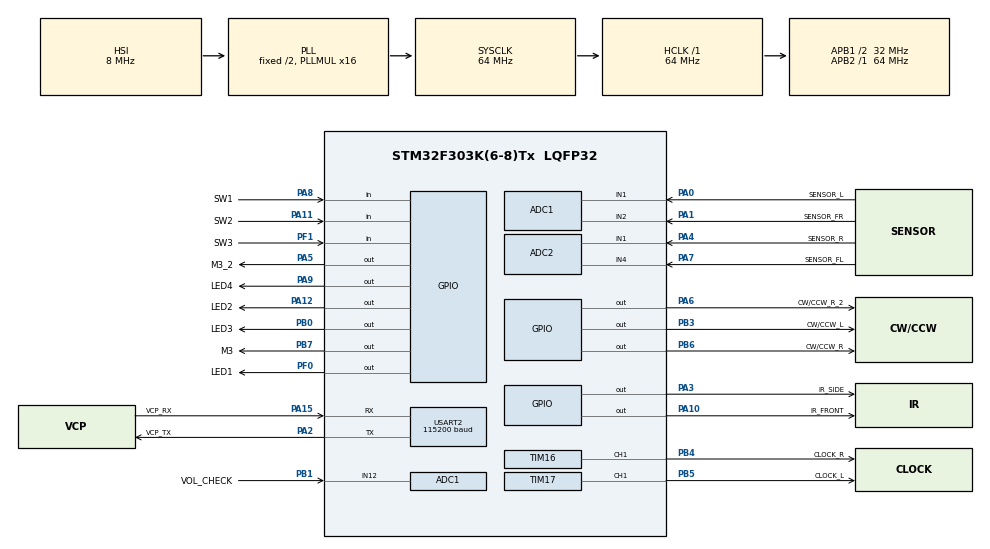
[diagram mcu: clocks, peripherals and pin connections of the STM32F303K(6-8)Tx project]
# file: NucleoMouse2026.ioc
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ADC1.Channel-0\#ChannelRegularConversion=ADC_CHANNEL_1
ADC1.Channel-1\#ChannelRegularConversion=ADC_CHANNEL_2
ADC1.Channel-2\#ChannelRegularConversion=ADC_CHANNEL_12
ADC1.DiscontinuousConvMode=ENABLE
ADC1.NbrOfConversion=3
ADC1.NbrOfConversionFlag=1
ADC1.Offset-0\#ChannelRegularConversion=0
ADC1.Offset-1\#ChannelRegularConversion=0
ADC1.Offset-2\#ChannelRegularConversion=0
ADC1.OffsetNumber-0\#ChannelRegularConversion=ADC_OFFSET_NONE
ADC1.OffsetNumber-1\#ChannelRegularConversion=ADC_OFFSET_NONE
ADC1.OffsetNumber-2\#ChannelRegularConversion=ADC_OFFSET_NONE
ADC1.Rank-0\#ChannelRegularConversion=1
ADC1.Rank-1\#ChannelRegularConversion=2
ADC1.Rank-2\#ChannelRegularConversion=3
ADC1.SamplingTime-0\#ChannelRegularConversion=ADC_SAMPLETIME_61CYCLES_5
ADC1.SamplingTime-1\#ChannelRegularConversion=ADC_SAMPLETIME_61CYCLES_5
ADC1.SamplingTime-2\#ChannelRegularConversion=ADC_SAMPLETIME_61CYCLES_5
ADC1.SamplingTimeOPAMP-1\#ChannelRegularConversion=ADC_SAMPLETIME_61CYCLES_5
ADC1.SamplingTimeOPAMP-2\#ChannelRegularConversion=ADC_SAMPLETIME_61CYCLES_5
ADC1.SubFamily=STM32F303x8
ADC1.master=1
ADC2.Channel-0\#ChannelRegularConversion=ADC_CHANNEL_1
ADC2.Channel-1\#ChannelRegularConversion=ADC_CHANNEL_4
ADC2.DiscontinuousConvMode=ENABLE
ADC2.NbrOfConversion=2
ADC2.NbrOfConversionFlag=1
ADC2.Offset-0\#ChannelRegularConversion=0
ADC2.Offset-1\#ChannelRegularConversion=0
ADC2.OffsetNumber-0\#ChannelRegularConversion=ADC_OFFSET_NONE
ADC2.OffsetNumber-1\#ChannelRegularConversion=ADC_OFFSET_NONE
ADC2.Rank-0\#ChannelRegularConversion=1
ADC2.Rank-1\#ChannelRegularConversion=2
ADC2.SamplingTime-0\#ChannelRegularConversion=ADC_SAMPLETIME_61CYCLES_5
ADC2.SamplingTime-1\#ChannelRegularConversion=ADC_SAMPLETIME_61CYCLES_5
ADC2.SamplingTimeOPAMP-1\#ChannelRegularConversion=ADC_SAMPLETIME_61CYCLES_5
ADC2.SubFamily=STM32F303x8
Mcu.Family=STM32F3
Mcu.Name=STM32F303K(6-8)Tx
Mcu.Package=LQFP32
NVIC.PriorityGroup=NVIC_PRIORITYGROUP_4
NVIC.TIM1_TRG_COM_TIM17_IRQn=true\:0\:0\:false\:false\:true\:true\:true\:true
NVIC.TIM1_UP_TIM16_IRQn=true\:0\:0\:false\:false\:true\:true\:true\:true
NVIC.TIM6_DAC1_IRQn=true\:0\:0\:false\:false\:true\:true\:true\:true
PA0.GPIO_Label=SENSOR_L
PA0.Mode=IN1-Single-Ended
PA0.Signal=ADC1_IN1
PA1.GPIO_Label=SENSOR_FR
PA1.Mode=IN2-Single-Ended
PA1.Signal=ADC1_IN2
PA10.GPIO_Label=IR_FRONT
PA10.Signal=GPIO_Output
PA11.GPIO_Label=SW2
PA11.GPIO_PuPd=GPIO_PULLUP
PA11.Signal=GPIO_Input
PA12.GPIO_Label=LED2
PA12.Signal=GPIO_Output
PA13.GPIO_Label=SWDIO
PA13.Mode=Serial_Wire
PA13.Signal=SYS_JTMS-SWDIO
PA14.GPIO_Label=SWCLK
PA14.Mode=Serial_Wire
PA14.Signal=SYS_JTCK-SWCLK
PA15.GPIO_Label=VCP_RX
PA15.Mode=Asynchronous
PA15.Signal=USART2_RX
PA2.GPIO_Label=VCP_TX
PA2.Mode=Asynchronous
PA2.Signal=USART2_TX
PA3.GPIO_Label=IR_SIDE
PA3.Signal=GPIO_Output
PA4.GPIO_Label=SENSOR_R
PA4.Mode=IN1-Single-Ended
PA4.Signal=ADC2_IN1
PA5.GPIO_Label=M3_2
PA5.Signal=GPIO_Output
PA6.GPIO_Label=CW/CCW_R_2
PA6.Signal=GPIO_Output
PA7.GPIO_Label=SENSOR_FL
PA7.Mode=IN4-Single-Ended
PA7.Signal=ADC2_IN4
PA8.GPIO_Label=SW1
PA8.GPIO_PuPd=GPIO_PULLUP
PA8.Signal=GPIO_Input
PA9.GPIO_Label=LED4
PA9.Signal=GPIO_Output
PB0.GPIO_Label=LED3
PB0.Signal=GPIO_Output
PB1.GPIO_Label=VOL_CHECK
PB1.Mode=IN12-Single-Ended
PB1.Signal=ADC1_IN12
PB3.GPIO_Label=CW/CCW_L
PB3.Signal=GPIO_Output
PB4.GPIO_Label=CLOCK_R
PB4.Signal=S_TIM16_CH1
PB5.GPIO_Label=CLOCK_L
PB5.Signal=S_TIM17_CH1
PB6.GPIO_Label=CW/CCW_R
PB6.Signal=GPIO_Output
PB7.GPIO_Label=M3
PB7.Signal=GPIO_Output
PF0\ /\ OSC_IN.GPIO_Label=LED1
PF0\ /\ OSC_IN.Signal=GPIO_Output
PF1\ /\ OSC_OUT.GPIO_Label=SW3
PF1\ /\ OSC_OUT.GPIO_PuPd=GPIO_PULLUP
PF1\ /\ OSC_OUT.Signal=GPIO_Input
ProjectManager.HeapSize=0x200
ProjectManager.StackSize=0x400
ProjectManager.TargetToolchain=STM32CubeIDE
RCC.AHBFreq_Value=64000000
RCC.APB1CLKDivider=RCC_HCLK_DIV2
RCC.APB1Freq_Value=32000000
RCC.APB1TimFreq_Value=64000000
RCC.APB2Freq_Value=64000000
RCC.APB2TimFreq_Value=64000000
RCC.CortexFreq_Value=64000000
RCC.HCLKFreq_Value=64000000
RCC.HSE_VALUE=8000000
RCC.HSI_VALUE=8000000
RCC.PLLMUL=RCC_PLL_MUL16
RCC.SYSCLKFreq_VALUE=64000000
RCC.SYSCLKSourceVirtual=RCC_SYSCLKSOURCE_PLLCLK
SH.S_TIM16_CH1.0=TIM16_CH1,PWM Generation1 CH1
SH.S_TIM17_CH1.0=TIM17_CH1,PWM Generation1 CH1
TIM16.Channel=TIM_CHANNEL_1
TIM16.Period=0
TIM16.Prescaler=64-1
TIM17.Channel=TIM_CHANNEL_1
TIM17.Period=0
TIM17.Prescaler=64-1
TIM6.Period=1000-1
TIM6.Prescaler=64-1
USART2.BaudRate=115200
USART2.VirtualMode-Asynchronous=VM_ASYNC
VP_TIM16_VS_ClockSourceINT.Mode=Enable_Timer
VP_TIM17_VS_ClockSourceINT.Mode=Enable_Timer
VP_TIM6_VS_ClockSourceINT.Mode=Enable_Timer
board=NUCLEO-F303K8

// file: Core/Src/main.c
/* USER CODE BEGIN Header */
/**
  ******************************************************************************
  * @file           : main.c
  * @brief          : Main program body
  ******************************************************************************
  * @attention
  *
  * Copyright (c) 2026 STMicroelectronics.
  * All rights reserved.
  *
  * This software is licensed under terms that can be found in the LICENSE file
  * in the root directory of this software component.
  * If no LICENSE file comes with this software, it is provided AS-IS.
  *
  ******************************************************************************
  */
/* USER CODE END Header */
#include "main.h"
#include "adc.h"
#include "tim.h"
#include "usart.h"
#include "gpio.h"

/* USER CODE BEGIN Includes */
#include "global.h"
#include "motor.h"
#include "drive.h"
#include "driveTest.h"
#include "search.h"
/* USER CODE END Includes */

void SystemClock_Config(void);

int main(void)
{

  /* MCU Configuration--------------------------------------------------------*/

  /* Reset of all peripherals, Initializes the Flash interface and the Systick. */
  HAL_Init();

  /* Configure the system clock */
  SystemClock_Config();

  /* Initialize all configured peripherals */
  MX_GPIO_Init();
  MX_USART2_UART_Init();
  MX_ADC1_Init();
  MX_ADC2_Init();
  MX_TIM6_Init();
  MX_TIM16_Init();
  MX_TIM17_Init();
  /* USER CODE BEGIN 2 */
  setbuf(stdout, NULL);  // printf用
  //割り込みの有効化
  __HAL_TIM_CLEAR_FLAG(&htim6, TIM_FLAG_UPDATE);
  __HAL_TIM_ENABLE_IT(&htim6, TIM_IT_UPDATE);
  HAL_TIM_Base_Start(&htim6);
  MotorDisable();
  printf("***** WMMC Nucleo Mouse 2026 *****\n");
  //mode選択用変数の初期化
  int mode = 0;
  /* USER CODE END 2 */

  /* Infinite loop */
  /* USER CODE BEGIN WHILE */
  while (1)
  {
	  //mode選択
	  mode = select_mode(mode);
	  //mode選択に応じた動作
	  switch (mode) {
	  case 0:
		  // モード0の処理
		  printf("Mode 0 selected\n");
      MotorInit();
      MotorEnable();
      SearchInit();
      DriveSetPosition();
      SearchA();
      MotorDisable();
		  break;
	  case 1:
		  // モード1の処理
		  printf("Mode 1 selected\n");
      MotorInit();
      MotorEnable();
      SearchInit();
      DriveSetPosition();
      SearchB();
      MotorDisable();
		  break;
	  case 2:
		  // モード2の処理
		  printf("Mode 2 selected\n");
		  break;
	  case 3:
		  // モード3の処理
		  printf("Mode 3 selected\n");
		  break;
	  case 4:
		  // モード4の処理
		  printf("Mode 4 selected\n");
		  break;
	  case 5:
		  // モード5の処理
		  printf("Mode 5 selected\n");
		  TestSearch();
		  break;
	  case 6:
		  // モード6の処理
		  printf("Mode 6 selected\n");
      DriveTest();
		  break;
	  case 7:
		  // モード7の処理
		  printf("Mode 7 : Sensor Check\n");
		  while (1)
		  {
			  printf("L: %d, FL: %d, FR: %d, R: %d, Batt: %d\n", (int)sensor.ad_l, (int)sensor.ad_fl, (int)sensor.ad_fr, (int)sensor.ad_r, (int)sensor.ad_batt);
			  HAL_Delay(100);
		  }
		  break;
	  default:
		  // デフォルトの処理
		  printf("Default mode selected\n");
		  break;
	  }
    /* USER CODE END WHILE */

  }
}

void SystemClock_Config(void)
{
  RCC_OscInitTypeDef RCC_OscInitStruct = {0};
  RCC_ClkInitTypeDef RCC_ClkInitStruct = {0};
  RCC_PeriphCLKInitTypeDef PeriphClkInit = {0};

  /** Initializes the RCC Oscillators according to the specified parameters
  * in the RCC_OscInitTypeDef structure.
  */
  RCC_OscInitStruct.OscillatorType = RCC_OSCILLATORTYPE_HSI;
  RCC_OscInitStruct.HSIState = RCC_HSI_ON;
  RCC_OscInitStruct.HSICalibrationValue = RCC_HSICALIBRATION_DEFAULT;
  RCC_OscInitStruct.PLL.PLLState = RCC_PLL_ON;
  RCC_OscInitStruct.PLL.PLLSource = RCC_PLLSOURCE_HSI;
  RCC_OscInitStruct.PLL.PLLMUL = RCC_PLL_MUL16;
  if (HAL_RCC_OscConfig(&RCC_OscInitStruct) != HAL_OK)
  {
    Error_Handler();
  }

  /** Initializes the CPU, AHB and APB buses clocks
  */
  RCC_ClkInitStruct.ClockType = RCC_CLOCKTYPE_HCLK|RCC_CLOCKTYPE_SYSCLK
                              |RCC_CLOCKTYPE_PCLK1|RCC_CLOCKTYPE_PCLK2;
  RCC_ClkInitStruct.SYSCLKSource = RCC_SYSCLKSOURCE_PLLCLK;
  RCC_ClkInitStruct.AHBCLKDivider = RCC_SYSCLK_DIV1;
  RCC_ClkInitStruct.APB1CLKDivider = RCC_HCLK_DIV2;
  RCC_ClkInitStruct.APB2CLKDivider = RCC_HCLK_DIV1;

  if (HAL_RCC_ClockConfig(&RCC_ClkInitStruct, FLASH_LATENCY_2) != HAL_OK)
  {
    Error_Handler();
  }
  PeriphClkInit.PeriphClockSelection = RCC_PERIPHCLK_ADC12;
  PeriphClkInit.Adc12ClockSelection = RCC_ADC12PLLCLK_DIV1;
  if (HAL_RCCEx_PeriphCLKConfig(&PeriphClkInit) != HAL_OK)
  {
    Error_Handler();
  }
}

void Error_Handler(void)
{
  __disable_irq();
  while (1)
  {
  }
}
